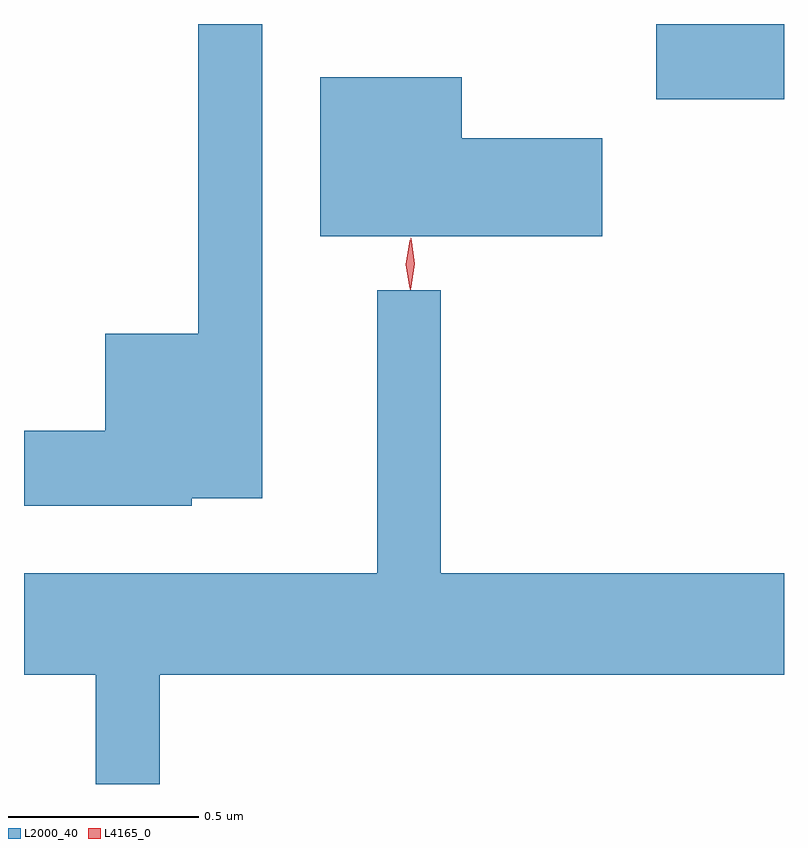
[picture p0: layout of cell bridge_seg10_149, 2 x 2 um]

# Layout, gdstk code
import gdstk
lib = gdstk.Library(unit=1e-6, precision=1e-09)
def R(c, l, rs):  # rectangles x0, y0, x1, y1
    for r in rs: c.add(gdstk.rectangle(r[:2], r[2:], *l))
def P(c, l, *ps):  # polygons
    for p in ps: c.add(gdstk.Polygon(p, *l))
L2000_40 = (2000, 40)
L4165_0 = (4165, 0)

bridge_seg10_149 = lib.new_cell('bridge_seg10_149')
R(bridge_seg10_149, L2000_40, [(1571.316,2097.671,1571.652,2097.869)])
P(bridge_seg10_149, L2000_40, [(1570.094,2096.621),(1570.279,2096.621),(1570.279,2097.869),(1570.111,2097.869),(1570.111,2097.054),(1569.866,2097.054),(1569.866,2096.799),(1569.652,2096.799),(1569.652,2096.601),(1570.094,2096.601)],
  [(1571.174,2097.569),(1570.804,2097.569),(1570.804,2097.729),(1570.431,2097.729),(1570.431,2097.311),(1571.174,2097.311)],
  [(1570.009,2096.156),(1571.652,2096.156),(1571.652,2096.424),(1570.749,2096.424),(1570.749,2097.168),(1570.581,2097.168),(1570.581,2096.424),(1569.652,2096.424),(1569.652,2096.156),(1569.841,2096.156),(1569.841,2095.869),(1570.009,2095.869)])
P(bridge_seg10_149, L4165_0, [(1570.667,2097.173),(1570.667,2097.173),(1570.657,2097.236),(1570.667,2097.3),(1570.667,2097.3),(1570.668,2097.3),(1570.677,2097.236),(1570.668,2097.173)],
  [(1570.669,2097.17),(1570.669,2097.17),(1570.66,2097.238),(1570.67,2097.305),(1570.67,2097.306),(1570.671,2097.305),(1570.68,2097.238),(1570.67,2097.17)])

lib.write_gds('bridge_seg10_149.gds')
